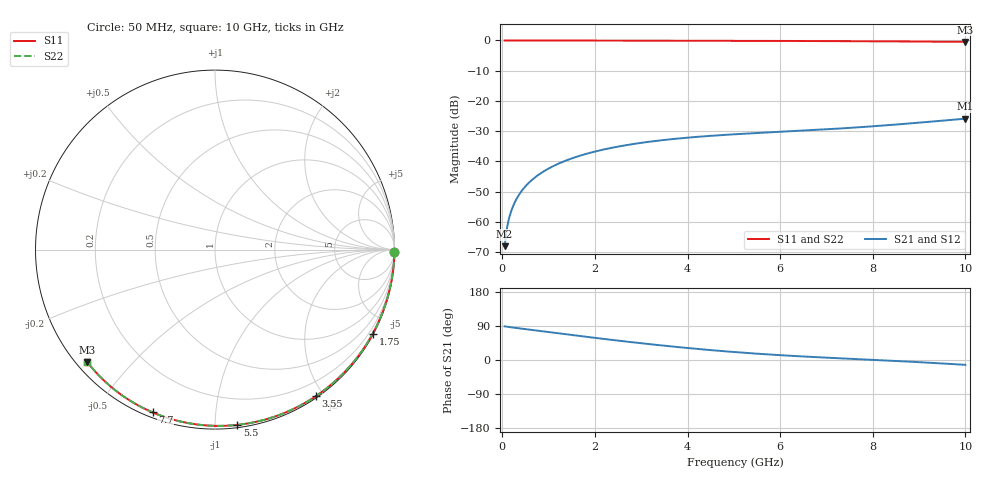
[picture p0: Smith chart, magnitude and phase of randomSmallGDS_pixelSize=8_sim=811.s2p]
! freq	dB(S11)	phase(S11)	dB(S12)	phase(S12)
!  dB(S21)	phase(S21)	dB(S22)	phase(S22)
!S-par simulation data
#  GHz  S  DB  R 50
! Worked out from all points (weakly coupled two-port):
!   200 points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, 50 MHz to 10 GHz, reference 50 ohm
!   highest |S21| = -25.88 dB at 10 GHz (marker M1); lowest = -68.1 dB at 50 MHz (marker M2)
!   lowest |S11| = -0.5 dB at 10 GHz (marker M3), VSWR 37.55, Z = 1.52 - j18.9 ohm
!   |S11| at or under -10 dB: nowhere
!   |S22| runs from -0.5 to 0.0 dB; largest |S21 - S12| = 0
!   S11 on the Smith chart (normalised r, x): 50 MHz: open; 1.75 GHz: 0.04, -4.01; 3.55 GHz: 0.02, -1.90; 5.5 GHz: 0.02, -1.13; 7.7 GHz: 0.02, -0.69; 10 GHz: 0.03, -0.38
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0.05  -0.00 -0.8  -68.07 88.9  -68.07 88.9  -0.00 -0.8
0.1  -0.00 -1.6  -62.08 87.9  -62.08 87.9  -0.00 -1.6
0.15  -0.00 -2.4  -58.59 87.0  -58.59 87.0  -0.00 -2.4
0.2  -0.00 -3.3  -56.12 86.1  -56.12 86.1  -0.00 -3.3
0.25  -0.00 -4.1  -54.21 85.3  -54.21 85.3  -0.00 -4.1
0.35  -0.00 -5.7  -51.32 83.7  -51.32 83.7  -0.00 -5.7
0.5  -0.01 -8.1  -48.27 81.4  -48.27 81.4  -0.01 -8.1
0.7  -0.01 -11.3  -45.39 78.4  -45.39 78.4  -0.01 -11.3
1  -0.02 -16.1  -42.37 73.7  -42.37 73.7  -0.02 -16.1
1.35  -0.03 -21.7  -39.89 68.3  -39.89 68.3  -0.03 -21.7
1.75  -0.04 -28.0  -37.80 62.1  -37.80 62.1  -0.04 -28.0
2.5  -0.05 -39.6  -35.12 51.1  -35.12 51.1  -0.05 -39.6
3.4  -0.07 -53.2  -33.09 39.0  -33.09 39.0  -0.07 -53.2
3.55  -0.08 -55.4  -32.83 37.1  -32.83 37.1  -0.08 -55.4
4.3  -0.10 -66.2  -31.78 28.3  -31.78 28.3  -0.10 -66.2
5.05  -0.12 -76.7  -31.01 20.7  -31.01 20.7  -0.12 -76.7
5.5  -0.14 -82.8  -30.63 16.7  -30.63 16.7  -0.14 -82.8
6.7  -0.19 -98.5  -29.66 8.0  -29.66 8.0  -0.19 -98.5
7.7  -0.25 -111.0  -28.73 2.2  -28.73 2.2  -0.25 -111.0
8.35  -0.30 -118.9  -28.00 -1.6  -28.00 -1.6  -0.30 -118.9
9.2  -0.38 -129.1  -26.94 -7.0  -26.94 -7.0  -0.38 -129.1
10  -0.46 -138.6  -25.88 -12.8  -25.88 -12.8  -0.46 -138.6
